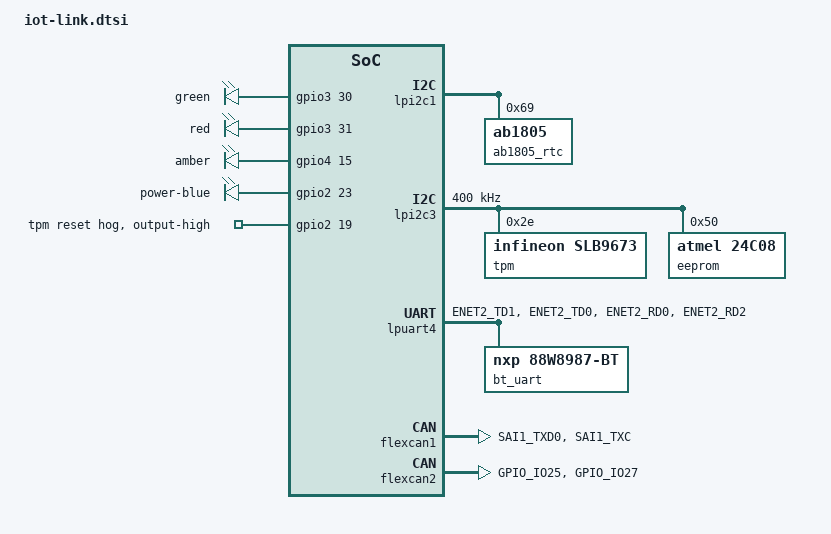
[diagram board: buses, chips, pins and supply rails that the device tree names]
// SPDX-License-Identifier: (GPL-2.0+ OR MIT)
/*
 * Copyright 2024 Compulab
 */

#include "dt-bindings/leds/common.h"
#include "dt-bindings/gpio/gpio.h"
#include "iot-link-cmd-button.dtsi"

/ {
	aliases {
		rtc0 = &ab1805_rtc;
		rtc1 = &bbnsm_rtc;
	};

	user-leds {
		compatible = "gpio-leds";
		pinctrl-names = "default";
		pinctrl-0 = <&pinctrl_user_leds>;
		green {
		     gpios = <&gpio3 30 GPIO_ACTIVE_HIGH>;
             default-state = "off";
		};
		red {
		     gpios = <&gpio3 31 GPIO_ACTIVE_HIGH>;
             default-state = "off";
		};
	};

	power_leds:power_leds {
		compatible = "gpio-leds";
		pinctrl-names = "default";
		pinctrl-0 = <&pinctrl_power_leds>;
		amber {
		     gpios = <&gpio4 15 GPIO_ACTIVE_HIGH>;
             default-state = "off";
		};
		power-blue {
		     gpios = <&gpio2 23 GPIO_ACTIVE_HIGH>;
		     linux,default-trigger = "heartbeat";
		};
	};
};

&ethphy1 {
    reg = <0>;
};

&lpi2c1 {
	ab1805_rtc: rtc@69 {
		compatible = "ab1805";
		reg = <0x69>;
		pagesize = <16>;
		sqw = "32768_hz";
		xt-frequency = <32772300>;
		status = "okay";
	};
};

&lpi2c3 {
	#address-cells = <1>;
	#size-cells = <0>;
	clock-frequency = <400000>;
	pinctrl-names = "default", "sleep";
	pinctrl-0 = <&pinctrl_lpi2c3>;
	pinctrl-1 = <&pinctrl_lpi2c3>;
	status = "okay";

	tpm@2e {
		compatible = "infineon,slb9673";
		reg = <0x2e>;
	};

	eeprom@50 {
		compatible = "atmel,24c08";
		reg = <0x50>;
		pagesize = <16>;
	};
};

&lpuart4 {
	pinctrl-names = "default";
	pinctrl-0 = <&pinctrl_uart4>;
	status = "okay";
	bt_uart: bluetooth {
            compatible = "nxp,88w8987-bt";
            fw-init-baudrate = <3000000>;
        };
};

&flexcan1 {
	pinctrl-names = "default";
	pinctrl-0 = <&pinctrl_flexcan1>;
	status = "okay";
};

&flexcan2 {
	pinctrl-names = "default";
	pinctrl-0 = <&pinctrl_flexcan2>;
	status = "okay";
};

&usdhc3_pwrseq {
	pinctrl-names = "default";
	pinctrl-0 = <&wifi_pdn>;
	reset-gpios = <&gpio2 20 GPIO_ACTIVE_LOW>; // iw611 pdn
};

&gpio2 {
	gpio-line-names = "", "", "", "", "dio2_out", "dio3_out", "", "",
		"", "", "", "", "dio4_out", "", "", "",
		"dio2_in", "dio3_in", "", "", "", "dio4_in";
    tpm_rst {
        gpio-hog;
        gpios = <19 GPIO_ACTIVE_HIGH>;
        output-high;
        line-name = "tpm reset";
    };
};

&iomuxc {
    pinctrl-names = "default";
    pinctrl-0 = <&pinctrl_hog>;

    pinctrl_hog: hoggrp {
        fsl,pins = <
            MX93_PAD_GPIO_IO19__GPIO2_IO19  0x31e
        >;
    };

	wifi_pdn: wifi_pdn {
        fsl,pins = <
			MX93_PAD_GPIO_IO20__GPIO2_IO20  0x31e
        >;
    };

	pinctrl_eqos: eqosgrp {
		fsl,pins = <
			MX93_PAD_ENET1_MDC__ENET_QOS_MDC			0x57e
			MX93_PAD_ENET1_MDIO__ENET_QOS_MDIO			0x57e
			MX93_PAD_ENET1_RD0__ENET_QOS_RGMII_RD0			0x57e
			MX93_PAD_ENET1_RD1__ENET_QOS_RGMII_RD1			0x57e
			MX93_PAD_ENET1_RD2__ENET_QOS_RGMII_RD2			0x57e
			MX93_PAD_ENET1_RD3__ENET_QOS_RGMII_RD3			0x57e
			MX93_PAD_ENET1_RXC__CCM_ENET_QOS_CLOCK_GENERATE_RX_CLK	0x5fe
			MX93_PAD_ENET1_RX_CTL__ENET_QOS_RGMII_RX_CTL		0x57e
			MX93_PAD_ENET1_TD0__ENET_QOS_RGMII_TD0			0x57e
			MX93_PAD_ENET1_TD1__ENET_QOS_RGMII_TD1			0x57e
			MX93_PAD_ENET1_TD2__ENET_QOS_RGMII_TD2			0x57e
			MX93_PAD_ENET1_TD3__ENET_QOS_RGMII_TD3			0x57e
			MX93_PAD_ENET1_TXC__CCM_ENET_QOS_CLOCK_GENERATE_TX_CLK	0x5fe
			MX93_PAD_ENET1_TX_CTL__ENET_QOS_RGMII_TX_CTL		0x57e
			/* reset phy gpio */
			MX93_PAD_GPIO_IO06__GPIO2_IO06				0x31e
		>;
	};

	pinctrl_uart4: uart4grp {
		fsl,pins = <
			MX93_PAD_ENET2_TD1__LPUART4_RTS_B	0x31e
			MX93_PAD_ENET2_TD0__LPUART4_TX   	0x31e
			MX93_PAD_ENET2_RD0__LPUART4_RX   	0x31e
			MX93_PAD_ENET2_RD2__LPUART4_CTS_B	0x31e
		>;
	};

	pinctrl_flexcan1: flexcan1grp {
		fsl,pins = <
			MX93_PAD_SAI1_TXD0__CAN1_TX	0x139e
			MX93_PAD_SAI1_TXC__CAN1_RX	0x139e
		>;
	};

	pinctrl_flexcan2: flexcan2grp {
		fsl,pins = <
			MX93_PAD_GPIO_IO25__CAN2_TX	0x139e
			MX93_PAD_GPIO_IO27__CAN2_RX	0x139e
		>;
	};

    pinctrl_user_leds: userledgrp {
        fsl,pins = <
            MX93_PAD_DAP_TCLK_SWCLK__GPIO3_IO30     0x31e
            MX93_PAD_DAP_TDO_TRACESWO__GPIO3_IO31   0x31e
        >;
    };

    pinctrl_power_leds: powerledgrp {
        fsl,pins = <
            MX93_PAD_GPIO_IO23__GPIO2_IO23	0x31e
            MX93_PAD_ENET2_MDIO__GPIO4_IO15 0x31e
        >;
    };
};
